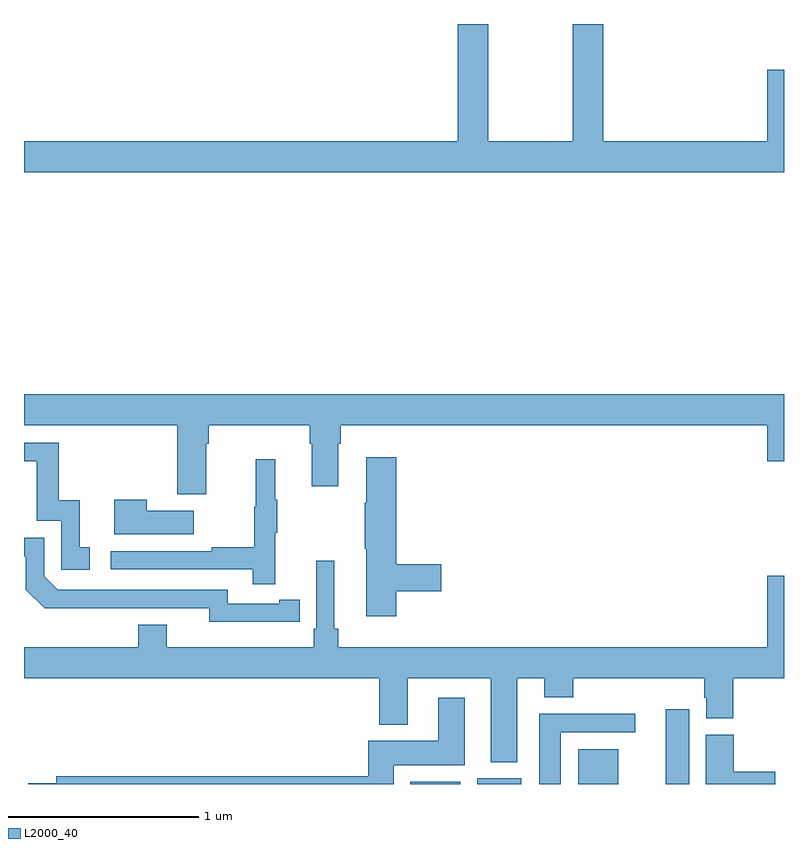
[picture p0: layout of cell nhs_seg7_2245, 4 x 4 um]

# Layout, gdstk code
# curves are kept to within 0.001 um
import gdstk
lib = gdstk.Library(unit=1e-6, precision=1e-09)
def R(c, l, rs):  # rectangles x0, y0, x1, y1
    for r in rs: c.add(gdstk.rectangle(r[:2], r[2:], *l))
def P(c, l, *ps):  # polygons
    for p in ps: c.add(gdstk.Polygon(p, *l))
L2000_40 = (2000, 40)

nhs_seg7_2245 = lib.new_cell('nhs_seg7_2245')
R(nhs_seg7_2245, L2000_40, [(259.034,1060,259.297,1060.012), (259.385,1060,259.618,1060.03), (259.916,1060,260.128,1060.183), (260.378,1060,260.5,1060.393)])
P(nhs_seg7_2245, L2000_40, [(261,1063.759),(260.912,1063.759),(260.912,1063.384),(260.048,1063.384),(260.048,1064),(259.888,1064),(259.888,1063.384),(259.443,1063.384),(259.443,1064),(259.283,1064),(259.283,1063.384),(257,1063.384),(257,1063.22),(261,1063.22)],
  [(257.959,1061.792),(257.972,1061.792),(257.972,1061.888),(258.503,1061.888),(258.503,1061.792),(258.515,1061.792),(258.515,1061.568),(258.655,1061.568),(258.655,1061.792),(258.668,1061.792),(258.668,1061.888),(260.912,1061.888),(260.912,1061.7),(261,1061.7),(261,1062.052),(257,1062.052),(257,1061.888),(257.807,1061.888),(257.807,1061.526),(257.959,1061.526)],
  [(257.347,1061.247),(257.294,1061.247),(257.294,1061.494),(257.183,1061.494),(257.183,1061.796),(257,1061.796),(257,1061.7),(257.067,1061.7),(257.067,1061.385),(257.196,1061.385),(257.196,1061.127),(257.347,1061.127)],
  [(258.959,1061.014),(259.195,1061.014),(259.195,1061.156),(258.959,1061.156),(258.959,1061.719),(258.8,1061.719),(258.8,1061.48),(258.793,1061.48),(258.793,1061.239),(258.8,1061.239),(258.8,1060.884),(258.959,1060.884)],
  [(258.323,1061.323),(258.334,1061.323),(258.334,1061.497),(258.323,1061.497),(258.323,1061.71),(258.22,1061.71),(258.22,1061.46),(258.213,1061.46),(258.213,1061.246),(257.989,1061.246),(257.989,1061.226),(257.457,1061.226),(257.457,1061.13),(258.205,1061.13),(258.205,1061.052),(258.323,1061.052)],
  [(257.893,1061.437),(257.645,1061.437),(257.645,1061.497),(257.474,1061.497),(257.474,1061.315),(257.893,1061.315)],
  [(258.344,1060.854),(258.452,1060.854),(258.452,1060.97),(258.344,1060.97),(258.344,1060.95),(258.072,1060.95),(258.072,1061.022),(257.178,1061.022),(257.106,1061.094),(257.106,1061.295),(257,1061.295),(257,1061.199),(257.01,1061.199),(257.01,1061.022),(257.108,1060.925),(257.976,1060.926),(257.976,1060.853)],
  [(259.597,1060.556),(259.739,1060.556),(259.739,1060.457),(259.892,1060.457),(259.892,1060.556),(260.579,1060.556),(260.579,1060.455),(260.591,1060.455),(260.591,1060.345),(260.732,1060.345),(260.732,1060.556),(261,1060.556),(261,1061.095),(260.912,1061.095),(260.912,1060.72),(258.653,1060.72),(258.653,1060.816),(258.634,1060.816),(258.634,1061.176),(258.537,1061.176),(258.537,1060.816),(258.524,1060.816),(258.524,1060.72),(257.752,1060.72),(257.752,1060.837),(257.6,1060.837),(257.6,1060.72),(257,1060.72),(257,1060.556),(258.869,1060.556),(258.869,1060.313),(259.021,1060.313),(259.021,1060.556),(259.457,1060.556),(259.457,1060.115),(259.597,1060.115)],
  [(258.946,1060.1),(259.321,1060.1),(259.321,1060.453),(259.181,1060.453),(259.181,1060.228),(258.812,1060.228),(258.812,1060.04),(257.171,1060.04),(257.171,1060.004),(257.022,1060.004),(257.022,1060),(258.946,1060)],
  [(259.825,1060.272),(260.218,1060.272),(260.218,1060.37),(259.712,1060.37),(259.712,1060),(259.825,1060)],
  [(260.953,1060.064),(260.735,1060.064),(260.735,1060.26),(260.588,1060.26),(260.588,1060),(260.953,1060)])

lib.write_gds('nhs_seg7_2245.gds')
